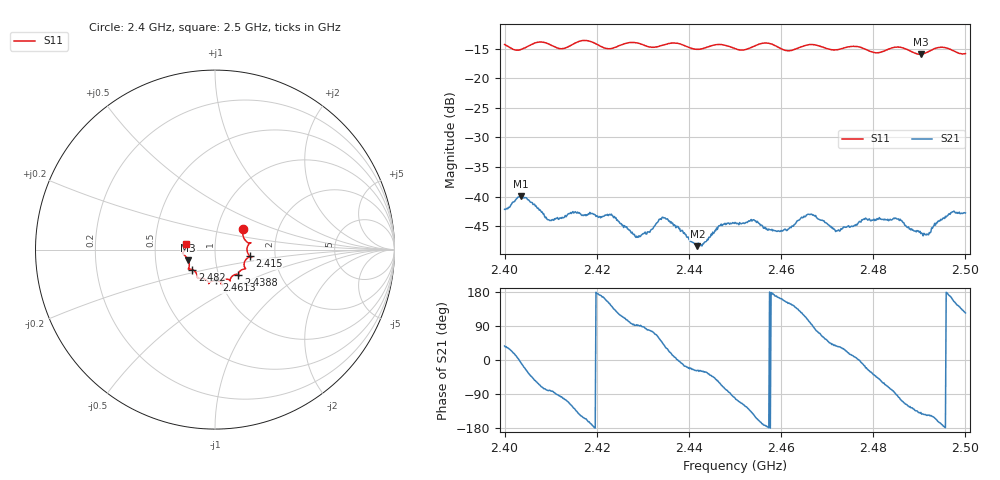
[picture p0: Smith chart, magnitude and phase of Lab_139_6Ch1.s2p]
# Hz S RI R 50
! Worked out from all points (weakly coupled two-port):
!   601 points, 2.4 GHz to 2.5 GHz, reference 50 ohm
!   highest |S21| = -39.91 dB at 2.4035 GHz (marker M1); lowest = -48.4 dB at 2.4418 GHz (marker M2)
!   lowest |S11| = -15.9 dB at 2.4903 GHz (marker M3), VSWR 1.38, Z = 36.8 - j4.44 ohm
!   |S11| at or under -10 dB: start of sweep to end of sweep
!   S12 and S22 are empty: the file has one direction only
!   S11 on the Smith chart (normalised r, x): 2.4 GHz: 1.33, +0.31; 2.415 GHz: 1.47, -0.11; 2.4388 GHz: 1.24, -0.36; 2.4613 GHz: 0.96, -0.34; 2.482 GHz: 0.76, -0.17; 2.5 GHz: 0.72, +0.05
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2.4e9  0.1577 0.1123  0.00622 0.00469  0 0  0 0
2.4035e9  0.1664 0.0554  0.01 -0.00116  0 0  0 0
2.409667e9  0.1918 0.0333  0.00111 -0.00623  0 0  0 0
2.415e9  0.1927 -0.036  -0.00438 -0.00577  0 0  0 0
2.416667e9  0.2037 -0.0439  -0.00591 -0.00368  0 0  0 0
2.423333e9  0.1623 -0.0768  -0.00536 0.0044  0 0  0 0
2.428833e9  0.1684 -0.1063  -8.42e-05 0.00452  0 0  0 0
2.433333e9  0.1319 -0.1314  0.00302 0.00535  0 0  0 0
2.434833e9  0.1303 -0.1431  0.00541 0.00376  0 0  0 0
2.438833e9  0.1297 -0.1403  0.00473 -0.00116  0 0  0 0
2.441833e9  0.1012 -0.1441  0.00336 -0.00177  0 0  0 0
2.45e9  0.069 -0.1648  -0.00109 -0.00594  0 0  0 0
2.454e9  0.0346 -0.1832  -0.00511 -0.0038  0 0  0 0
2.456833e9  0.0385 -0.1953  -0.00536 -0.000557  0 0  0 0
2.461333e9  0.00771 -0.1715  -0.00458 0.00239  0 0  0 0
2.466667e9  -0.035 -0.1902  -0.00046 0.00706  0 0  0 0
2.472333e9  -0.0703 -0.1604  0.00423 0.00298  0 0  0 0
2.482e9  -0.1259 -0.1115  0.00327 -0.00551  0 0  0 0
2.483333e9  -0.1396 -0.1086  0.00189 -0.00594  0 0  0 0
2.490333e9  -0.1491 -0.0588  -0.00363 -0.00322  0 0  0 0
2.497e9  -0.174 -0.0112  -0.00704 0.00204  0 0  0 0
2.5e9  -0.1589 0.0326  -0.00409 0.006  0 0  0 0
